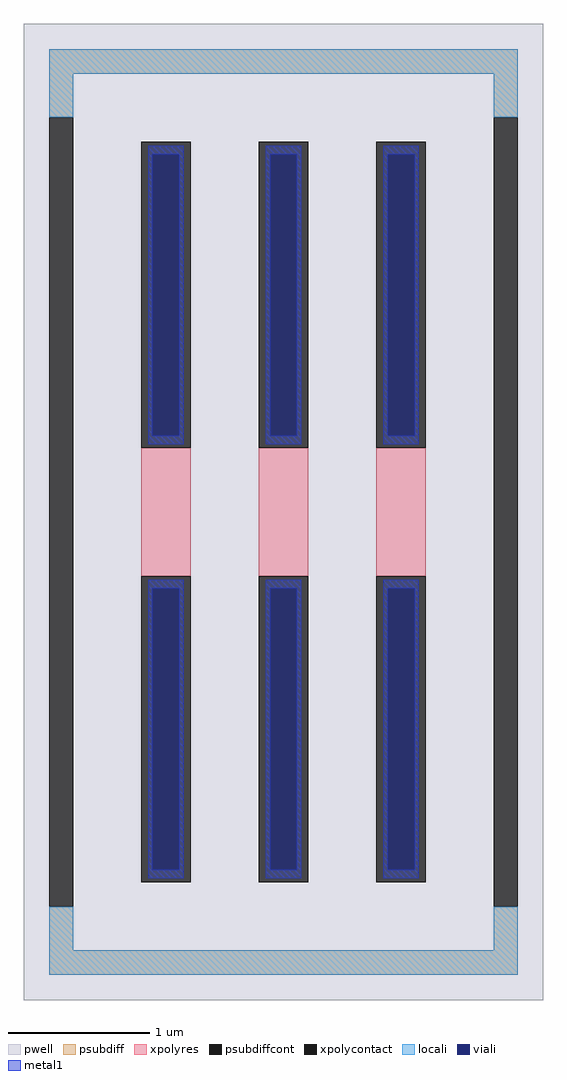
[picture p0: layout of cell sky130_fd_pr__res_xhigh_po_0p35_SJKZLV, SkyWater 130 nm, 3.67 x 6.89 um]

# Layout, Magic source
magic
tech sky130A
magscale 1 2
<< pwell >>
rect -367 -689 367 689
<< psubdiff >>
rect -331 619 331 653
rect -331 557 -297 619
rect 297 557 331 619
rect -331 -619 -297 -557
rect 297 -619 331 -557
rect -331 -653 331 -619
<< psubdiffcont >>
rect -331 -557 -297 557
rect 297 -557 331 557
<< xpolycontact >>
rect -201 91 -131 523
rect -201 -523 -131 -91
rect -35 91 35 523
rect -35 -523 35 -91
rect 131 91 201 523
rect 131 -523 201 -91
<< xpolyres >>
rect -201 -91 -131 91
rect -35 -91 35 91
rect 131 -91 201 91
<< locali >>
rect -331 619 331 653
rect -331 557 -297 619
rect 297 557 331 619
rect -331 -619 -297 -557
rect 297 -619 331 -557
rect -331 -653 331 -619
<< viali >>
rect -185 108 -147 505
rect -19 108 19 505
rect 147 108 185 505
rect -185 -505 -147 -108
rect -19 -505 19 -108
rect 147 -505 185 -108
<< metal1 >>
rect -191 505 -141 517
rect -191 108 -185 505
rect -147 108 -141 505
rect -191 96 -141 108
rect -25 505 25 517
rect -25 108 -19 505
rect 19 108 25 505
rect -25 96 25 108
rect 141 505 191 517
rect 141 108 147 505
rect 185 108 191 505
rect 141 96 191 108
rect -191 -108 -141 -96
rect -191 -505 -185 -108
rect -147 -505 -141 -108
rect -191 -517 -141 -505
rect -25 -108 25 -96
rect -25 -505 -19 -108
rect 19 -505 25 -108
rect -25 -517 25 -505
rect 141 -108 191 -96
rect 141 -505 147 -108
rect 185 -505 191 -108
rect 141 -517 191 -505
<< properties >>
string FIXED_BBOX -314 -636 314 636
string gencell sky130_fd_pr__res_xhigh_po_0p35
string library sky130
string parameters w 0.350 l 1.07 m 1 nx 3 wmin 0.350 lmin 0.50 rho 2000 val 7.189k dummy 0 dw 0.0 term 188.2 sterm 0.0 caplen 0 wmax 0.350 guard 1 glc 1 grc 1 gtc 0 gbc 0 compatible {sky130_fd_pr__res_xhigh_po_0p35  sky130_fd_pr__res_xhigh_po_0p69 sky130_fd_pr__res_xhigh_po_1p41  sky130_fd_pr__res_xhigh_po_2p85 sky130_fd_pr__res_xhigh_po_5p73} snake 0 full_metal 1 n_guard 0 hv_guard 0 vias 1 viagb 0 viagt 0 viagl 0 viagr 0
<< end >>
